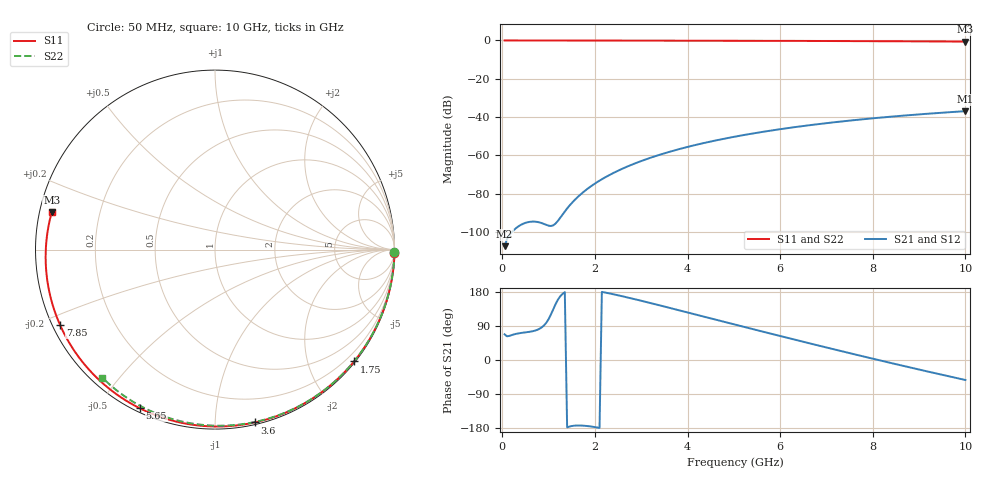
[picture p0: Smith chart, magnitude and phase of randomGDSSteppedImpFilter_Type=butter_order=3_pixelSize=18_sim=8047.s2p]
! freq	dB(S11)	phase(S11)	dB(S12)	phase(S12)
!  dB(S21)	phase(S21)	dB(S22)	phase(S22)
!S-par simulation data
#  GHz  S  DB  R 50
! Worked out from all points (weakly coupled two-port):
!   200 points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, 50 MHz to 10 GHz, reference 50 ohm
!   highest |S21| = -36.96 dB at 10 GHz (marker M1); lowest = -107.5 dB at 50 MHz (marker M2)
!   lowest |S11| = -0.6 dB at 10 GHz (marker M3), VSWR 28.84, Z = 1.76 + j5.7 ohm
!   |S11| at or under -10 dB: nowhere
!   |S22| runs from -0.4 to 0.0 dB; largest |S21 - S12| = 0
!   S11 on the Smith chart (normalised r, x): 50 MHz: open; 1.75 GHz: 0.03, -2.84; 3.6 GHz: 0.02, -1.26; 5.65 GHz: 0.02, -0.63; 7.85 GHz: 0.02, -0.23; 10 GHz: 0.04, +0.11
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0.05  -0.00 -1.1  -107.53 67.8  -107.53 67.8  -0.00 -0.8
0.45  -0.01 -10.2  -95.81 72.1  -95.81 72.1  -0.01 -6.8
0.85  -0.02 -19.1  -95.45 85.9  -95.45 85.9  -0.02 -12.8
1.25  -0.04 -27.9  -92.70 167.9  -92.70 167.9  -0.02 -18.8
1.7  -0.05 -37.7  -80.27 -172.9  -80.27 -172.9  -0.03 -25.4
1.75  -0.05 -38.8  -79.25 -173.3  -79.25 -173.3  -0.03 -26.2
2.05  -0.06 -45.2  -74.02 -178.1  -74.02 -178.1  -0.04 -30.6
2.25  -0.06 -49.5  -71.17 177.3  -71.17 177.3  -0.04 -33.5
2.45  -0.07 -53.7  -68.66 172.1  -68.66 172.1  -0.05 -36.4
2.9  -0.08 -63.0  -63.94 159.3  -63.94 159.3  -0.06 -42.8
3.4  -0.10 -73.0  -59.73 144.1  -59.73 144.1  -0.07 -49.8
3.6  -0.10 -77.0  -58.27 138.0  -58.27 138.0  -0.07 -52.6
4.3  -0.13 -90.5  -53.90 116.1  -53.90 116.1  -0.09 -62.2
5.05  -0.16 -104.5  -50.16 92.6  -50.16 92.6  -0.11 -72.1
5.65  -0.19 -115.4  -47.67 74.0  -47.67 74.0  -0.13 -79.9
6.15  -0.22 -124.2  -45.86 58.7  -45.86 58.7  -0.15 -86.2
6.7  -0.26 -133.9  -44.10 42.0  -44.10 42.0  -0.18 -93.0
7.3  -0.30 -144.3  -42.41 24.0  -42.41 24.0  -0.21 -100.2
7.85  -0.35 -153.9  -41.04 7.8  -41.04 7.8  -0.25 -106.7
8.35  -0.40 -162.7  -39.92 -6.7  -39.92 -6.7  -0.29 -112.5
9.2  -0.50 -178.0  -38.28 -30.8  -38.28 -30.8  -0.36 -122.3
10  -0.60 167.0  -36.96 -52.8  -36.96 -52.8  -0.44 -131.3
